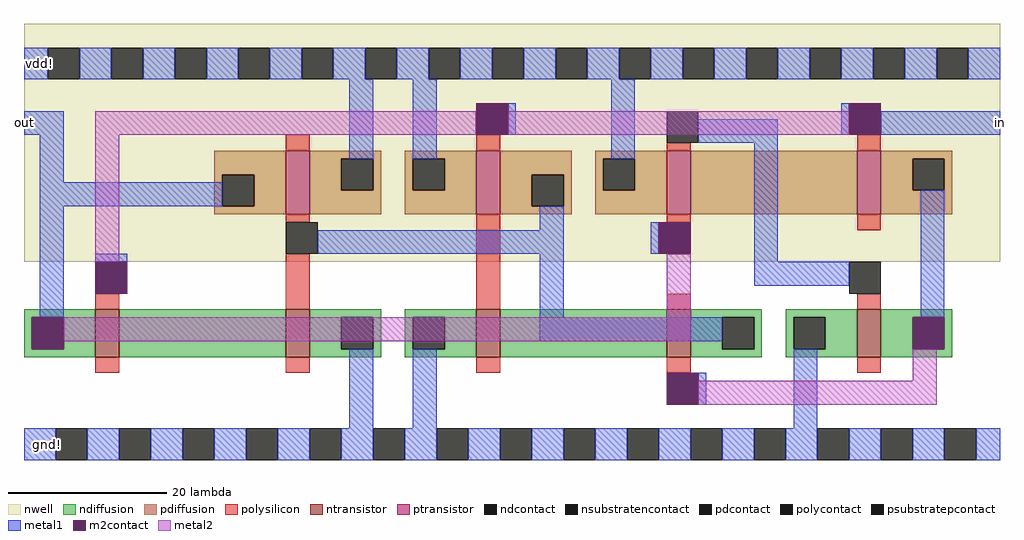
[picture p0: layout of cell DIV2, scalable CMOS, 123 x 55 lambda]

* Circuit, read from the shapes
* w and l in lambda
.subckt DIV2 gnd! in out vdd!
M1 n1 in out gnd! nfet w=6 l=3
M2 gnd! n2 n1 gnd! nfet w=6 l=3
M3 n3 in gnd! gnd! nfet w=6 l=3
M4 n2 n4 n3 gnd! nfet w=6 l=3
M5 n4 out gnd! gnd! nfet w=6 l=3
M6 vdd! n2 out vdd! pfet w=8 l=3
M7 n2 in vdd! vdd! pfet w=8 l=3
M8 n5 out vdd! vdd! pfet w=8 l=3
M9 n4 in n5 vdd! pfet w=8 l=3
.ends

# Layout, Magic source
magic
tech scmos
<< nwell >>
rect -11 -3 112 27
<< ntransistor >>
rect -2 -15 1 -9
rect 22 -15 25 -9
rect 46 -15 49 -9
rect 70 -15 73 -9
rect 94 -15 97 -9
<< ptransistor >>
rect 22 3 25 11
rect 46 3 49 11
rect 70 3 73 11
rect 94 3 97 11
<< ndiffusion >>
rect -11 -10 -2 -9
rect -11 -14 -10 -10
rect -6 -14 -2 -10
rect -11 -15 -2 -14
rect 1 -15 22 -9
rect 25 -10 34 -9
rect 25 -14 29 -10
rect 33 -14 34 -10
rect 25 -15 34 -14
rect 37 -10 46 -9
rect 37 -14 38 -10
rect 42 -14 46 -10
rect 37 -15 46 -14
rect 49 -15 70 -9
rect 73 -10 82 -9
rect 73 -14 77 -10
rect 81 -14 82 -10
rect 73 -15 82 -14
rect 85 -10 94 -9
rect 85 -14 86 -10
rect 90 -14 94 -10
rect 85 -15 94 -14
rect 97 -10 106 -9
rect 97 -14 101 -10
rect 105 -14 106 -10
rect 97 -15 106 -14
<< pdiffusion >>
rect 13 8 22 11
rect 13 4 14 8
rect 18 4 22 8
rect 13 3 22 4
rect 25 10 34 11
rect 25 6 29 10
rect 33 6 34 10
rect 25 3 34 6
rect 37 10 46 11
rect 37 6 38 10
rect 42 6 46 10
rect 37 3 46 6
rect 49 8 58 11
rect 49 4 53 8
rect 57 4 58 8
rect 49 3 58 4
rect 61 10 70 11
rect 61 6 62 10
rect 66 6 70 10
rect 61 3 70 6
rect 73 3 94 11
rect 97 10 106 11
rect 97 6 101 10
rect 105 6 106 10
rect 97 3 106 6
<< ndcontact >>
rect -10 -14 -6 -10
rect 29 -14 33 -10
rect 38 -14 42 -10
rect 77 -14 81 -10
rect 86 -14 90 -10
rect 101 -14 105 -10
<< pdcontact >>
rect 14 4 18 8
rect 29 6 33 10
rect 38 6 42 10
rect 53 4 57 8
rect 62 6 66 10
rect 101 6 105 10
<< psubstratepcontact >>
rect -7 -28 -3 -24
rect 1 -28 5 -24
rect 9 -28 13 -24
rect 17 -28 21 -24
rect 25 -28 29 -24
rect 33 -28 37 -24
rect 41 -28 45 -24
rect 49 -28 53 -24
rect 57 -28 61 -24
rect 65 -28 69 -24
rect 73 -28 77 -24
rect 81 -28 85 -24
rect 89 -28 93 -24
rect 97 -28 101 -24
rect 105 -28 109 -24
<< nsubstratencontact >>
rect -8 20 -4 24
rect 0 20 4 24
rect 8 20 12 24
rect 16 20 20 24
rect 24 20 28 24
rect 32 20 36 24
rect 40 20 44 24
rect 48 20 52 24
rect 56 20 60 24
rect 64 20 68 24
rect 72 20 76 24
rect 80 20 84 24
rect 88 20 92 24
rect 96 20 100 24
rect 104 20 108 24
<< polysilicon >>
rect 22 11 25 13
rect 46 11 49 13
rect 70 11 73 12
rect 94 11 97 13
rect 22 2 25 3
rect -2 -9 1 -7
rect 22 -9 25 -2
rect 46 -9 49 3
rect 70 2 73 3
rect 94 1 97 3
rect 70 -9 73 -7
rect 94 -9 97 -7
rect -2 -17 1 -15
rect 22 -17 25 -15
rect 46 -17 49 -15
rect 70 -17 73 -15
rect 94 -17 97 -15
<< polycontact >>
rect 46 13 50 17
rect 70 12 74 16
rect 93 13 97 17
rect 22 -2 26 2
rect -2 -7 2 -3
rect 69 -2 73 2
rect 93 -7 97 -3
rect 70 -21 74 -17
<< metal1 >>
rect -11 20 -8 24
rect -4 20 0 24
rect 4 20 8 24
rect 12 20 16 24
rect 20 20 24 24
rect 28 20 32 24
rect 36 20 40 24
rect 44 20 48 24
rect 52 20 56 24
rect 60 20 64 24
rect 68 20 72 24
rect 76 20 80 24
rect 84 20 88 24
rect 92 20 96 24
rect 100 20 104 24
rect 108 20 112 24
rect -11 13 -6 16
rect -9 7 -6 13
rect 30 10 33 20
rect -9 4 14 7
rect 38 10 41 20
rect 50 13 51 17
rect 63 10 66 20
rect 74 12 84 15
rect 92 13 93 17
rect 97 13 112 16
rect -9 -10 -6 4
rect 54 1 57 4
rect 26 -2 57 1
rect 68 -2 69 2
rect -2 -3 2 -2
rect 54 -10 57 -2
rect 81 -3 84 12
rect 81 -6 93 -3
rect 102 -10 105 6
rect 30 -24 33 -14
rect 54 -13 77 -10
rect 38 -24 41 -14
rect 74 -21 75 -17
rect 86 -24 89 -14
rect -11 -28 -7 -24
rect -3 -28 1 -24
rect 5 -28 9 -24
rect 13 -28 17 -24
rect 21 -28 25 -24
rect 29 -28 33 -24
rect 37 -28 41 -24
rect 45 -28 49 -24
rect 53 -28 57 -24
rect 61 -28 65 -24
rect 69 -28 73 -24
rect 77 -28 81 -24
rect 85 -28 89 -24
rect 93 -28 97 -24
rect 101 -28 105 -24
rect 109 -28 112 -24
<< m2contact >>
rect 46 13 50 17
rect 93 13 97 17
rect 69 -2 73 2
rect -2 -7 2 -3
rect -10 -14 -6 -10
rect 101 -14 105 -10
rect 70 -21 74 -17
<< metal2 >>
rect -2 13 46 16
rect 50 13 93 16
rect -2 -3 1 13
rect 70 -10 73 -2
rect -6 -13 73 -10
rect 101 -18 104 -14
rect 74 -21 104 -18
<< labels >>
rlabel metal1 -9 22 -9 22 4 vdd!
rlabel metal1 -8 -26 -8 -26 2 gnd!
rlabel metal1 -11 13 -11 16 3 out
rlabel metal1 112 13 112 16 7 in
<< end >>
